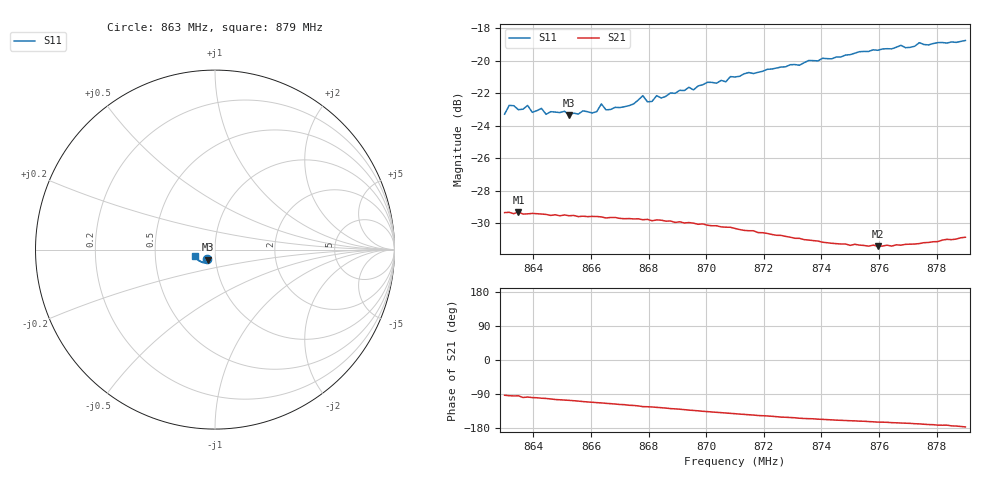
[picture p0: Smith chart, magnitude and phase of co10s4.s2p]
# HZ S RI R 50
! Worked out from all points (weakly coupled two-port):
!   101 points, 863 MHz to 879 MHz, reference 50 ohm
!   highest |S21| = -29.32 dB at 863.48 MHz (marker M1); lowest = -31.4 dB at 875.96 MHz (marker M2)
!   lowest |S11| = -23.3 dB at 865.24 MHz (marker M3), VSWR 1.15, Z = 46 - j5.18 ohm
!   |S11| at or under -10 dB: start of sweep to end of sweep
!   S12 and S22 are empty: the file has one direction only
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8.63e8  -0.0441 -0.0523  -0.00182 -0.034  0 0  0 0
8.6316e8  -0.0465 -0.056  -0.00253 -0.034  0 0  0 0
8.6348e8  -0.0416 -0.057  -0.00269 -0.0341  0 0  0 0
8.638e8  -0.0449 -0.0573  -0.00453 -0.0335  0 0  0 0
8.6396e8  -0.0406 -0.0562  -0.00539 -0.0334  0 0  0 0
8.6428e8  -0.0418 -0.0577  -0.00636 -0.0331  0 0  0 0
8.6444e8  -0.0394 -0.0558  -0.00668 -0.033  0 0  0 0
8.6524e8  -0.0386 -0.0561  -0.00946 -0.0319  0 0  0 0
8.6572e8  -0.0376 -0.0591  -0.0112 -0.0313  0 0  0 0
8.662e8  -0.037 -0.059  -0.0127 -0.0306  0 0  0 0
8.6636e8  -0.0428 -0.0598  -0.013 -0.0304  0 0  0 0
8.6652e8  -0.0362 -0.0605  -0.0135 -0.0299  0 0  0 0
8.6732e8  -0.0373 -0.0624  -0.0161 -0.0284  0 0  0 0
8.678e8  -0.0436 -0.0647  -0.0176 -0.0272  0 0  0 0
8.6796e8  -0.0378 -0.0644  -0.0178 -0.0271  0 0  0 0
8.6828e8  -0.0393 -0.0674  -0.0186 -0.0265  0 0  0 0
8.6844e8  -0.039 -0.0661  -0.0189 -0.0262  0 0  0 0
8.71e8  -0.0516 -0.0725  -0.0239 -0.0189  0 0  0 0
8.7372e8  -0.0698 -0.0716  -0.0253 -0.0117  0 0  0 0
8.7596e8  -0.0872 -0.0629  -0.0258 -0.00743  0 0  0 0
8.7644e8  -0.0905 -0.0601  -0.026 -0.00681  0 0  0 0
8.79e8  -0.1093 -0.0369  -0.0286 -0.0017  0 0  0 0
